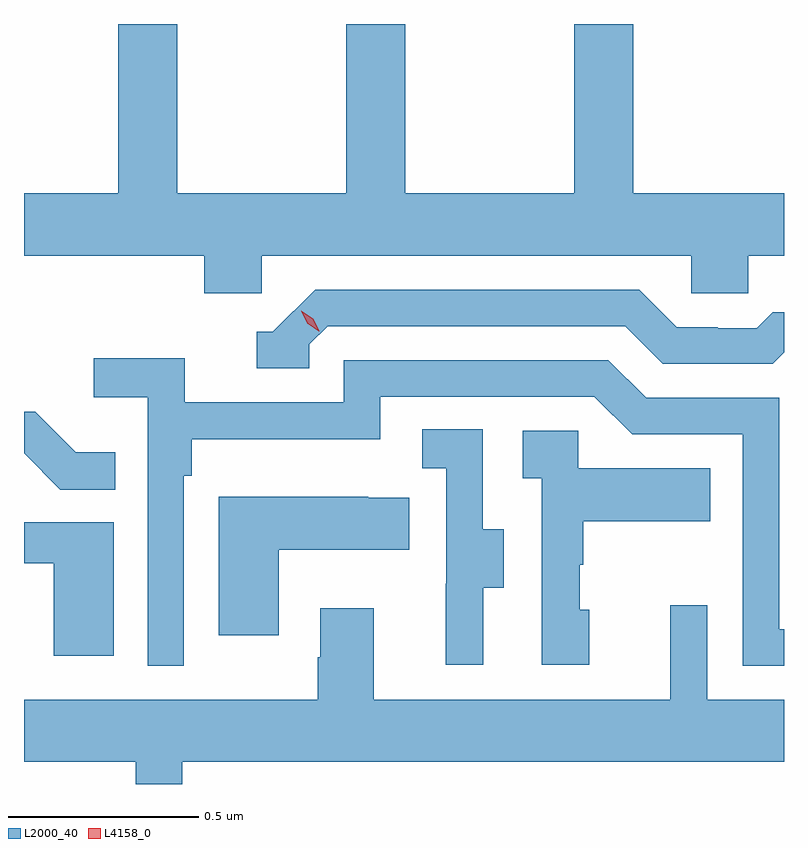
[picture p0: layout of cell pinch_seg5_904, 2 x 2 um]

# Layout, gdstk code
import gdstk
lib = gdstk.Library(unit=1e-6, precision=1e-09)
def P(c, l, *ps):  # polygons
    for p in ps: c.add(gdstk.Polygon(p, *l))
L2000_40 = (2000, 40)
L4158_0 = (4158, 0)

pinch_seg5_904 = lib.new_cell('pinch_seg5_904')
P(pinch_seg5_904, L2000_40, [(866.754,887.396),(867.885,887.396),(867.885,887.298),(868.035,887.298),(868.035,887.396),(868.129,887.396),(868.129,887.56),(867.732,887.56),(867.732,888.006),(867.577,888.006),(867.577,887.56),(867.132,887.56),(867.132,888.006),(866.977,888.006),(866.977,887.56),(866.532,887.56),(866.532,888.006),(866.377,888.006),(866.377,887.56),(866.129,887.56),(866.129,887.396),(866.603,887.396),(866.603,887.298),(866.754,887.298)],
  [(866.88,887.163),(866.928,887.211),(867.711,887.211),(867.81,887.112),(868.099,887.112),(868.129,887.142),(868.129,887.248),(868.099,887.248),(868.057,887.205),(867.954,887.205),(867.954,887.208),(867.847,887.208),(867.748,887.307),(866.895,887.307),(866.784,887.196),(866.741,887.196),(866.741,887.1),(866.88,887.1)],
  [(866.55,886.817),(866.57,886.817),(866.57,886.913),(867.066,886.913),(867.066,887.025),(867.63,887.025),(867.729,886.926),(868.02,886.926),(868.02,886.317),(868.129,886.317),(868.129,886.413),(868.116,886.413),(868.116,887.022),(867.766,887.022),(867.667,887.121),(866.97,887.121),(866.97,887.01),(866.552,887.01),(866.552,887.126),(866.313,887.126),(866.313,887.024),(866.454,887.024),(866.454,886.317),(866.55,886.317)],
  [(866.369,886.879),(866.265,886.879),(866.158,886.986),(866.129,886.986),(866.129,886.876),(866.225,886.78),(866.369,886.78)],
  [(867.337,886.522),(867.391,886.522),(867.391,886.677),(867.336,886.677),(867.336,886.94),(867.177,886.94),(867.177,886.837),(867.24,886.837),(867.24,886.533),(867.239,886.533),(867.239,886.32),(867.337,886.32)],
  [(867.616,886.464),(867.591,886.464),(867.591,886.583),(867.601,886.583),(867.601,886.697),(867.935,886.697),(867.935,886.837),(867.588,886.837),(867.588,886.935),(867.441,886.935),(867.441,886.811),(867.492,886.811),(867.492,886.32),(867.616,886.32)],
  [(866.8,886.622),(867.143,886.622),(867.143,886.759),(867.035,886.759),(867.035,886.762),(866.642,886.762),(866.642,886.398),(866.8,886.398)],
  [(866.365,886.695),(866.129,886.695),(866.129,886.587),(866.207,886.587),(866.207,886.344),(866.365,886.344)],
  [(866.545,886.064),(868.129,886.064),(868.129,886.228),(867.927,886.228),(867.927,886.477),(867.83,886.477),(867.83,886.228),(867.049,886.228),(867.049,886.468),(866.909,886.468),(866.909,886.34),(866.902,886.34),(866.902,886.228),(866.129,886.228),(866.129,886.064),(866.423,886.064),(866.423,886.006),(866.545,886.006)])
P(pinch_seg5_904, L4158_0, [(866.905,887.198),(866.875,887.218),(866.859,887.251),(866.859,887.251),(866.859,887.251),(866.89,887.231),(866.906,887.198),(866.906,887.198)])

lib.write_gds('pinch_seg5_904.gds')
